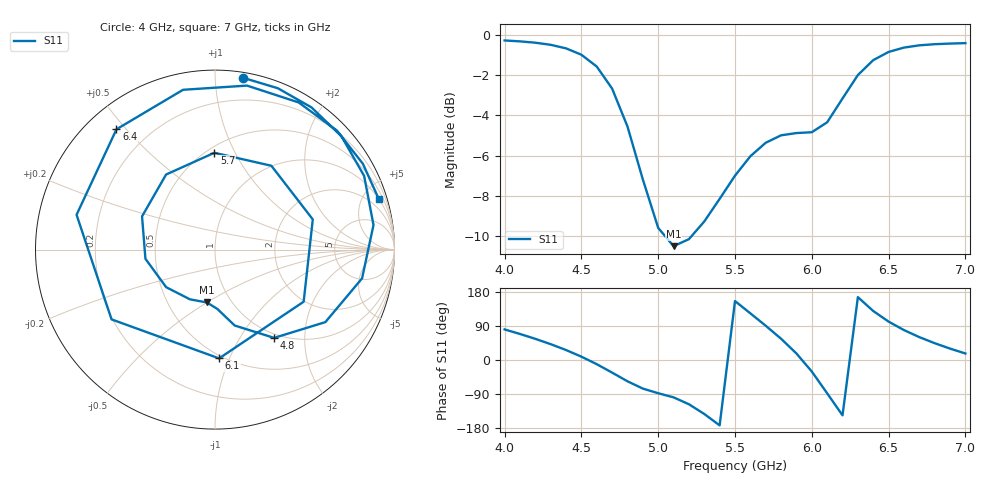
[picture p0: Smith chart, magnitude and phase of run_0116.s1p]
! Touchstone file exported from HFSS 2024.2.0
!  File:  C:/Users/wsak9/Desktop/Sim Fast/Widenad Patch/WP_AI_V1_sweep.aedt
!  Generated:  07:45:01 PM Oct 13, 2026
!  Design:  A1_model
!  Project:  WP_AI_V1_sweep
!  Setup:  Setup1
!  Solution:  Sweep
! Variables:
!  Air_gap = 1.72mm
!  Curve_Amp1 = 0.72
!  Curve_len1 = 1
!  Curve_pos = 10.515mm
!  Extra = 6.56mm
!  H_sub = 0.79mm
!  L_Patch = 17.03mm
!  L_Patch1 = 19.16mm
!  Sx = 3.73mm
!  Sy = 4.3mm
!  WS = 0.38mm
!  W_Patch = 14.36mm
!  W_Patch1 = 12.6mm
!Data is not renormalized
# GHz S MA
! Terminal data exported
! Port[1] = 1
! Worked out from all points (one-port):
!   31 points, 4 GHz to 7 GHz, reference per port
!   lowest |S11| = -10.5 dB at 5.1 GHz (marker M1), VSWR 1.85
!   |S11| at or under -10 dB: 5.044 GHz to 5.219 GHz (175.1 MHz wide, 3.41 % of centre)
!   S11 on the Smith chart (normalised r, x): 4 GHz: 0.04, +1.18; 4.8 GHz: 0.94, -1.42; 5.7 GHz: 0.55, +0.83; 6.1 GHz: 0.48, -0.92; 6.4 GHz: 0.09, +0.47; 7 GHz: 1.01, +6.47
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4  0.9698 80.7
4.2  0.9574 55.8
4.4  0.9268 26.3
4.5  0.8936 8.8
4.6  0.835 -11.1
4.7  0.7358 -33.3
4.8  0.592 -56.2
4.9  0.437 -75.5
5  0.331 -87.7
5.1  0.2981 -98.6
5.2  0.3103 -116.8
5.3  0.3434 -142.5
5.4  0.391 -172.5
5.5  0.4466 155.5
5.6  0.4992 123.1
5.7  0.5394 90.4
5.8  0.5629 56.1
5.9  0.5702 17.2
6  0.573 -30.4
6.1  0.6065 -87.8
6.2  0.6952 -146.0
6.3  0.7953 165.9
6.4  0.8663 129.3
6.5  0.908 101.3
6.6  0.931 79.0
6.7  0.9431 60.4
6.8  0.9493 44.3
7  0.9551 17.2
